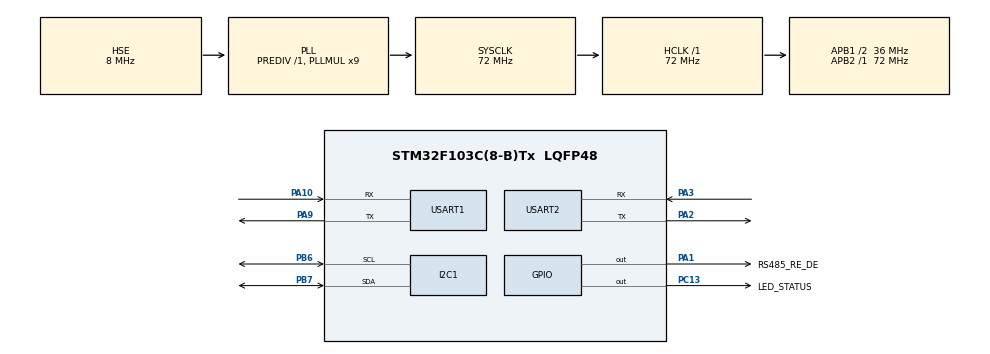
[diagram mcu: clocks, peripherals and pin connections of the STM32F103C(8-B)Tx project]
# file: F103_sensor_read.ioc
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I2C1.I2C_Mode=I2C_Fast
Mcu.Family=STM32F1
Mcu.Name=STM32F103C(8-B)Tx
Mcu.Package=LQFP48
NVIC.PriorityGroup=NVIC_PRIORITYGROUP_4
PA1.GPIO_Label=RS485_RE_DE
PA1.Signal=GPIO_Output
PA10.Mode=Asynchronous
PA10.Signal=USART1_RX
PA13.Mode=Serial_Wire
PA13.Signal=SYS_JTMS-SWDIO
PA14.Mode=Serial_Wire
PA14.Signal=SYS_JTCK-SWCLK
PA2.Mode=Asynchronous
PA2.Signal=USART2_TX
PA3.Mode=Asynchronous
PA3.Signal=USART2_RX
PA9.Mode=Asynchronous
PA9.Signal=USART1_TX
PB6.Mode=I2C
PB6.Signal=I2C1_SCL
PB7.Mode=I2C
PB7.Signal=I2C1_SDA
PC13-TAMPER-RTC.GPIO_Label=LED_STATUS
PC13-TAMPER-RTC.Signal=GPIO_Output
PD0-OSC_IN.Mode=HSE-External-Oscillator
PD0-OSC_IN.Signal=RCC_OSC_IN
PD1-OSC_OUT.Mode=HSE-External-Oscillator
PD1-OSC_OUT.Signal=RCC_OSC_OUT
ProjectManager.HeapSize=0x200
ProjectManager.StackSize=0x400
ProjectManager.TargetToolchain=STM32CubeIDE
RCC.AHBFreq_Value=72000000
RCC.APB1CLKDivider=RCC_HCLK_DIV2
RCC.APB1Freq_Value=36000000
RCC.APB1TimFreq_Value=72000000
RCC.APB2Freq_Value=72000000
RCC.APB2TimFreq_Value=72000000
RCC.HCLKFreq_Value=72000000
RCC.PLLMUL=RCC_PLL_MUL9
RCC.PLLSourceVirtual=RCC_PLLSOURCE_HSE
RCC.SYSCLKFreq_VALUE=72000000
RCC.SYSCLKSource=RCC_SYSCLKSOURCE_PLLCLK
RCC.USBFreq_Value=72000000
USART1.VirtualMode=VM_ASYNC
USART2.VirtualMode=VM_ASYNC
board=custom

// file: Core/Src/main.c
/* USER CODE BEGIN Header */
/**
  ******************************************************************************
  * @file           : main.c
  * @brief          : Main program body
  ******************************************************************************
  * @attention
  *
  * Copyright (c) 2026 STMicroelectronics.
  * All rights reserved.
  *
  * This software is licensed under terms that can be found in the LICENSE file
  * in the root directory of this software component.
  * If no LICENSE file comes with this software, it is provided AS-IS.
  *
  ******************************************************************************
  */
/* USER CODE END Header */
#include "main.h"

/* USER CODE BEGIN Includes */
#include "RS485.h"
#include "TCA9548A.h"
#include "CP2102dbg.h"
/* USER CODE END Includes */

I2C_HandleTypeDef hi2c1;

UART_HandleTypeDef huart1;
UART_HandleTypeDef huart2;

void SystemClock_Config(void);
static void MX_GPIO_Init(void);
static void MX_I2C1_Init(void);
static void MX_USART2_UART_Init(void);
static void MX_USART1_UART_Init(void);

/* USER CODE BEGIN 0 */
uint16_t robot_angles[3] = {0, 0, 0};
uint8_t rx_command = 0;
/* USER CODE END 0 */

int main(void)
{

  /* MCU Configuration--------------------------------------------------------*/

  /* Reset of all peripherals, Initializes the Flash interface and the Systick. */
  HAL_Init();

  /* Configure the system clock */
  SystemClock_Config();

  /* Initialize all configured peripherals */
  MX_GPIO_Init();
  MX_I2C1_Init();
  MX_USART2_UART_Init();
  MX_USART1_UART_Init();
  /* USER CODE BEGIN 2 */
  CP2102_Debug_Init();
  RS485_Init(&huart2, GPIOA, GPIO_PIN_1);
  TCA9548A_Init(&hi2c1);
  /* USER CODE END 2 */

  /* Infinite loop */
  /* USER CODE BEGIN WHILE */
  while (1)
  {
	  // Lắng nghe lệnh với timeout rất ngắn (2ms) để không bị block
	  if (RS485_Receive_Command(&rx_command, 2) == HAL_OK) {

		  if (rx_command == 0x52) { // Nếu nhận đúng ký tự 'R' (0x52)
			  Update_All_Angles(robot_angles);	//Quét ngay lập tức góc của cả 3 cảm biến
			  RS485_Send_Angles(robot_angles);	//Trả dữ liệu qua RS485

				#if DEBUG_ENABLE
			  	  CP2102_Send_Angles(robot_angles);
				#endif

			  rx_command = 0;	// Xóa biến lệnh sau khi thực thi xong
	          HAL_GPIO_TogglePin(GPIOC, GPIO_PIN_13);
	      }
	  }
    /* USER CODE END WHILE */

  }
}

void SystemClock_Config(void)
{
  RCC_OscInitTypeDef RCC_OscInitStruct = {0};
  RCC_ClkInitTypeDef RCC_ClkInitStruct = {0};

  /** Initializes the RCC Oscillators according to the specified parameters
  * in the RCC_OscInitTypeDef structure.
  */
  RCC_OscInitStruct.OscillatorType = RCC_OSCILLATORTYPE_HSE;
  RCC_OscInitStruct.HSEState = RCC_HSE_ON;
  RCC_OscInitStruct.HSEPredivValue = RCC_HSE_PREDIV_DIV1;
  RCC_OscInitStruct.HSIState = RCC_HSI_ON;
  RCC_OscInitStruct.PLL.PLLState = RCC_PLL_ON;
  RCC_OscInitStruct.PLL.PLLSource = RCC_PLLSOURCE_HSE;
  RCC_OscInitStruct.PLL.PLLMUL = RCC_PLL_MUL9;
  if (HAL_RCC_OscConfig(&RCC_OscInitStruct) != HAL_OK)
  {
    Error_Handler();
  }

  /** Initializes the CPU, AHB and APB buses clocks
  */
  RCC_ClkInitStruct.ClockType = RCC_CLOCKTYPE_HCLK|RCC_CLOCKTYPE_SYSCLK
                              |RCC_CLOCKTYPE_PCLK1|RCC_CLOCKTYPE_PCLK2;
  RCC_ClkInitStruct.SYSCLKSource = RCC_SYSCLKSOURCE_PLLCLK;
  RCC_ClkInitStruct.AHBCLKDivider = RCC_SYSCLK_DIV1;
  RCC_ClkInitStruct.APB1CLKDivider = RCC_HCLK_DIV2;
  RCC_ClkInitStruct.APB2CLKDivider = RCC_HCLK_DIV1;

  if (HAL_RCC_ClockConfig(&RCC_ClkInitStruct, FLASH_LATENCY_2) != HAL_OK)
  {
    Error_Handler();
  }
}

static void MX_I2C1_Init(void)
{

  hi2c1.Instance = I2C1;
  hi2c1.Init.ClockSpeed = 400000;
  hi2c1.Init.DutyCycle = I2C_DUTYCYCLE_2;
  hi2c1.Init.OwnAddress1 = 0;
  hi2c1.Init.AddressingMode = I2C_ADDRESSINGMODE_7BIT;
  hi2c1.Init.DualAddressMode = I2C_DUALADDRESS_DISABLE;
  hi2c1.Init.OwnAddress2 = 0;
  hi2c1.Init.GeneralCallMode = I2C_GENERALCALL_DISABLE;
  hi2c1.Init.NoStretchMode = I2C_NOSTRETCH_DISABLE;
  if (HAL_I2C_Init(&hi2c1) != HAL_OK)
  {
    Error_Handler();
  }

}

static void MX_USART1_UART_Init(void)
{

  huart1.Instance = USART1;
  huart1.Init.BaudRate = 115200;
  huart1.Init.WordLength = UART_WORDLENGTH_8B;
  huart1.Init.StopBits = UART_STOPBITS_1;
  huart1.Init.Parity = UART_PARITY_NONE;
  huart1.Init.Mode = UART_MODE_TX_RX;
  huart1.Init.HwFlowCtl = UART_HWCONTROL_NONE;
  huart1.Init.OverSampling = UART_OVERSAMPLING_16;
  if (HAL_UART_Init(&huart1) != HAL_OK)
  {
    Error_Handler();
  }

}

static void MX_USART2_UART_Init(void)
{

  huart2.Instance = USART2;
  huart2.Init.BaudRate = 115200;
  huart2.Init.WordLength = UART_WORDLENGTH_8B;
  huart2.Init.StopBits = UART_STOPBITS_1;
  huart2.Init.Parity = UART_PARITY_NONE;
  huart2.Init.Mode = UART_MODE_TX_RX;
  huart2.Init.HwFlowCtl = UART_HWCONTROL_NONE;
  huart2.Init.OverSampling = UART_OVERSAMPLING_16;
  if (HAL_UART_Init(&huart2) != HAL_OK)
  {
    Error_Handler();
  }

}

static void MX_GPIO_Init(void)
{
  GPIO_InitTypeDef GPIO_InitStruct = {0};

  /* GPIO Ports Clock Enable */
  __HAL_RCC_GPIOC_CLK_ENABLE();
  __HAL_RCC_GPIOD_CLK_ENABLE();
  __HAL_RCC_GPIOA_CLK_ENABLE();
  __HAL_RCC_GPIOB_CLK_ENABLE();

  /*Configure GPIO pin Output Level */
  HAL_GPIO_WritePin(LED_STATUS_GPIO_Port, LED_STATUS_Pin, GPIO_PIN_RESET);

  /*Configure GPIO pin Output Level */
  HAL_GPIO_WritePin(RS485_RE_DE_GPIO_Port, RS485_RE_DE_Pin, GPIO_PIN_RESET);

  /*Configure GPIO pin : LED_STATUS_Pin */
  GPIO_InitStruct.Pin = LED_STATUS_Pin;
  GPIO_InitStruct.Mode = GPIO_MODE_OUTPUT_PP;
  GPIO_InitStruct.Pull = GPIO_NOPULL;
  GPIO_InitStruct.Speed = GPIO_SPEED_FREQ_LOW;
  HAL_GPIO_Init(LED_STATUS_GPIO_Port, &GPIO_InitStruct);

  /*Configure GPIO pin : RS485_RE_DE_Pin */
  GPIO_InitStruct.Pin = RS485_RE_DE_Pin;
  GPIO_InitStruct.Mode = GPIO_MODE_OUTPUT_PP;
  GPIO_InitStruct.Pull = GPIO_NOPULL;
  GPIO_InitStruct.Speed = GPIO_SPEED_FREQ_LOW;
  HAL_GPIO_Init(RS485_RE_DE_GPIO_Port, &GPIO_InitStruct);

}

void Error_Handler(void)
{
  __disable_irq();
  while (1)
  {
  }
}
